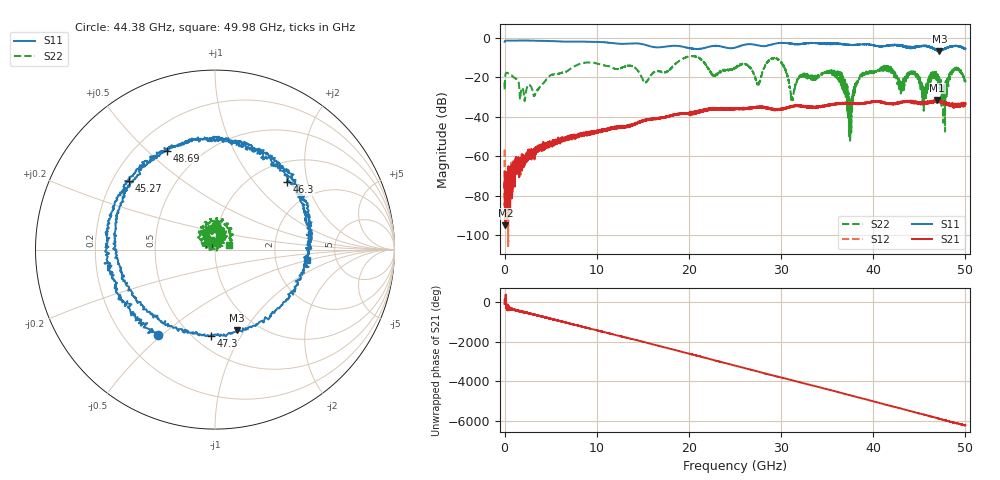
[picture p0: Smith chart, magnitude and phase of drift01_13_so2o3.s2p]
!Created with skrf (http://scikit-rf.org).
# Hz S RI R 50.0
!freq ReS11 ImS11 ReS21 ImS21 ReS12 ImS12 ReS22 ImS22
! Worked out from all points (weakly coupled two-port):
!   10001 points, 300 kHz to 50 GHz, reference 50 ohm
!   highest |S21| = -31.48 dB at 46.94 GHz (marker M1); lowest = -94.9 dB at 85.3 MHz (marker M2)
!   lowest |S11| = -6.7 dB at 47.18 GHz (marker M3), VSWR 2.73, Z = 40.3 - j45.9 ohm
!   |S11| at or under -10 dB: nowhere
!   |S22| runs from -52.5 to -9.2 dB; largest |S21 - S12| = 0.0034
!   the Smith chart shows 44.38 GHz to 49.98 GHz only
!   S11 on the Smith chart (normalised r, x): 44.38 GHz: 0.34, -0.49; 45.27 GHz: 0.27, +0.33; 46.3 GHz: 1.40, +1.51; 47.3 GHz: 0.60, -0.75; 48.69 GHz: 0.33, +0.58; 49.98 GHz: 3.05, -0.47
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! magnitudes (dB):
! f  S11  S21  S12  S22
! 300 kHz  -2.1  -67.9  -56.6  -22.5
! 85.3 MHz  -1.5  -94.9  -77.8  -18.7
! 3.29 GHz  -1.5  -57.2  -56.7  -28.9
! 8.335 GHz  -1.9  -48.7  -48.8  -12.9
! 16.67 GHz  -4.9  -40.8  -40.5  -16.7
! 25 GHz  -5.0  -35.9  -35.6  -15.3
! 29.58 GHz  -2.8  -36.2  -36.3  -10.5
! 31.23 GHz  -3.1  -34.5  -34.6  -30.9
! 33.34 GHz  -2.6  -35.1  -35.1  -20.0
! 36.08 GHz  -3.1  -33.6  -33.4  -17.8
! 37.47 GHz  -3.6  -33.3  -33.1  -36.3
! 38.69 GHz  -3.4  -33.2  -33.4  -19.4
! 41.67 GHz  -3.9  -33.3  -33.4  -15.5
! 44.38 GHz  -4.8  -32.3  -32.6  -17.3
! 45.27 GHz  -4.2  -32.7  -33.0  -24.6
! 46.3 GHz  -5.2  -32.6  -32.3  -17.8
! 46.94 GHz  -6.3  -31.5  -32.0  -19.2
! 47.18 GHz  -6.7  -32.2  -32.3  -21.8
! 47.3 GHz  -6.4  -31.7  -32.3  -21.9
! 48.69 GHz  -4.2  -35.1  -34.4  -16.3
! 49.98 GHz  -5.8  -33.8  -33.5  -21.6
! 50 GHz  -5.5  -33.0  -33.3  -21.9
